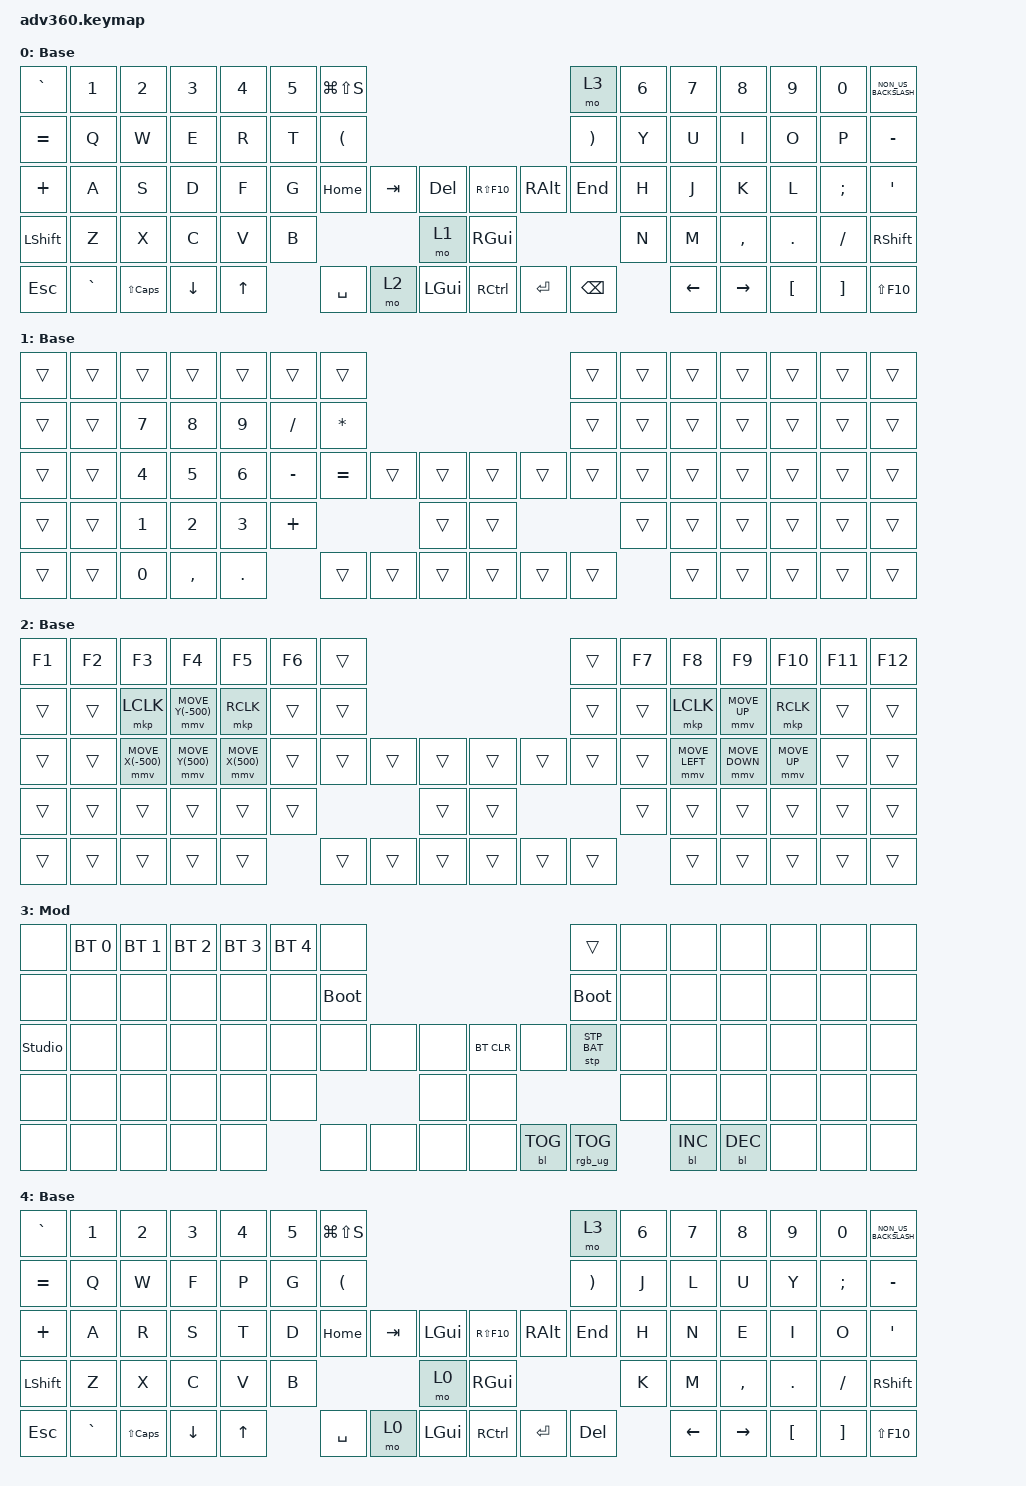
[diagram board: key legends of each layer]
#include <dt-bindings/zmk/stp.h>
#include <behaviors.dtsi>
#include <dt-bindings/zmk/backlight.h>
#include <dt-bindings/zmk/bt.h>
#include <dt-bindings/zmk/keys.h>
#include <dt-bindings/zmk/pointing.h>
#include <dt-bindings/zmk/rgb.h>

/ {
    behaviors {
        #include "macros.dtsi"
      #include "version.dtsi"

        hm: homerow_mods {
            compatible = "zmk,behavior-hold-tap";
            label = "HOMEROW_MODS";
            #binding-cells = <2>;
            tapping-term-ms = <200>;
            quick_tap_ms = <175>;
            flavor = "tap-preferred";
            bindings = <&kp>, <&kp>;
        };
    };

    keymap {
        compatible = "zmk,keymap";

        default_layer {
            display-name = "Base";
            bindings = <
&kp GRAVE   &kp N1     &kp N2        &kp N3          &kp N4        &kp N5  &kp LG(LS(S))                                                                  &mo 3                  &kp N6  &kp N7          &kp N8           &kp N9    &kp N0    &kp NON_US_BACKSLASH
&kp EQUAL   &kp Q      &kp W         &kp E           &kp R         &kp T   &kp LEFT_PARENTHESIS                                                           &kp RIGHT_PARENTHESIS  &kp Y   &kp U           &kp I            &kp O     &kp P     &kp MINUS
&kp PLUS    &kp A      &kp S         &kp D           &kp F         &kp G   &kp HOME              &kp TAB  &kp DELETE        &kp RS(F10)    &kp RIGHT_ALT  &kp END                &kp H   &kp J           &kp K            &kp L     &kp SEMI  &kp SQT
&kp LSHFT   &kp Z      &kp X         &kp C           &kp V         &kp B                                  &mo 1             &kp RIGHT_GUI                                        &kp N   &kp M           &kp COMMA        &kp DOT   &kp FSLH  &kp RSHFT
&kp ESCAPE  &kp GRAVE  &kp LS(CAPS)  &kp DOWN_ARROW  &kp UP_ARROW          &kp SPACE             &mo 2    &kp LEFT_GUI      &kp RCTRL      &kp ENTER      &kp BACKSPACE                  &kp LEFT_ARROW  &kp RIGHT_ARROW  &kp LBKT  &kp RBKT  &kp LS(F10)
            >;
        };

        kp {
            display-name = "Base";
            bindings = <
&trans  &trans  &trans        &trans        &trans        &trans     &trans                                            &trans  &trans  &trans  &trans  &trans  &trans  &trans
&trans  &trans  &kp NUMBER_7  &kp NUMBER_8  &kp NUMBER_9  &kp SLASH  &kp ASTERISK                                      &trans  &trans  &trans  &trans  &trans  &trans  &trans
&trans  &trans  &kp NUMBER_4  &kp NUMBER_5  &kp NUMBER_6  &kp MINUS  &kp EQUAL     &trans  &trans      &trans  &trans  &trans  &trans  &trans  &trans  &trans  &trans  &trans
&trans  &trans  &kp NUMBER_1  &kp NUMBER_2  &kp NUMBER_3  &kp PLUS                         &trans      &trans                  &trans  &trans  &trans  &trans  &trans  &trans
&trans  &trans  &kp NUMBER_0  &kp COMMA     &kp PERIOD               &trans        &trans  &trans      &trans  &trans  &trans          &trans  &trans  &trans  &trans  &trans
            >;
        };

        fn {
            display-name = "Base";
            bindings = <
&kp F1  &kp F2  &kp F3             &kp F4             &kp F5            &kp F6  &trans                                      &trans  &kp F7  &kp F8          &kp F9          &kp F10       &kp F11  &kp F12
&trans  &trans  &mkp LCLK          &mmv MOVE_Y(-500)  &mkp RCLK         &trans  &trans                                      &trans  &trans  &mkp LCLK       &mmv MOVE_UP    &mkp RCLK     &trans   &trans
&trans  &trans  &mmv MOVE_X(-500)  &mmv MOVE_Y(500)   &mmv MOVE_X(500)  &trans  &trans  &trans  &trans      &trans  &trans  &trans  &trans  &mmv MOVE_LEFT  &mmv MOVE_DOWN  &mmv MOVE_UP  &trans   &trans
&trans  &trans  &trans             &trans             &trans            &trans                  &trans      &trans                  &trans  &trans          &trans          &trans        &trans   &trans
&trans  &trans  &trans             &trans             &trans                    &trans  &trans  &trans      &trans  &trans  &trans          &trans          &trans          &trans        &trans   &trans
            >;
        };

        mod {
            display-name = "Mod";
            bindings = <
&none           &bt BT_SEL 0  &bt BT_SEL 1  &bt BT_SEL 2  &bt BT_SEL 3  &bt BT_SEL 4  &none                                                  &trans           &none  &none       &none       &none  &none  &none
&none           &none         &none         &none         &none         &none         &bootloader                                            &bootloader      &none  &none       &none       &none  &none  &none
&studio_unlock  &none         &none         &none         &none         &none         &none        &none  &none      &bt BT_CLR  &none       &stp STP_BAT     &none  &none       &none       &none  &none  &none
&none           &none         &none         &none         &none         &none                             &none      &none                                    &none  &none       &none       &none  &none  &none
&none           &none         &none         &none         &none                       &none        &none  &none      &none       &bl BL_TOG  &rgb_ug RGB_TOG         &bl BL_INC  &bl BL_DEC  &none  &none  &none
            >;
        };

        layer_5 {
            display-name = "Base";
            bindings = <
&kp GRAVE   &kp N1     &kp N2        &kp N3          &kp N4        &kp N5  &kp LG(LS(S))                                                                  &mo 3                  &kp N6  &kp N7          &kp N8           &kp N9    &kp N0         &kp NON_US_BACKSLASH
&kp EQUAL   &kp Q      &kp W         &kp F           &kp P         &kp G   &kp LEFT_PARENTHESIS                                                           &kp RIGHT_PARENTHESIS  &kp J   &kp L           &kp U            &kp Y     &kp SEMICOLON  &kp MINUS
&kp PLUS    &kp A      &kp R         &kp S           &kp T         &kp D   &kp HOME              &kp TAB  &kp LEFT_GUI      &kp RS(F10)    &kp RIGHT_ALT  &kp END                &kp H   &kp N           &kp E            &kp I     &kp O          &kp SQT
&kp LSHFT   &kp Z      &kp X         &kp C           &kp V         &kp B                                  &mo 0             &kp RIGHT_GUI                                        &kp K   &kp M           &kp COMMA        &kp DOT   &kp FSLH       &kp RSHFT
&kp ESCAPE  &kp GRAVE  &kp LS(CAPS)  &kp DOWN_ARROW  &kp UP_ARROW          &kp SPACE             &mo 0    &kp LEFT_GUI      &kp RCTRL      &kp ENTER      &kp DELETE                     &kp LEFT_ARROW  &kp RIGHT_ARROW  &kp LBKT  &kp RBKT       &kp LS(F10)
            >;
        };
    };
};
